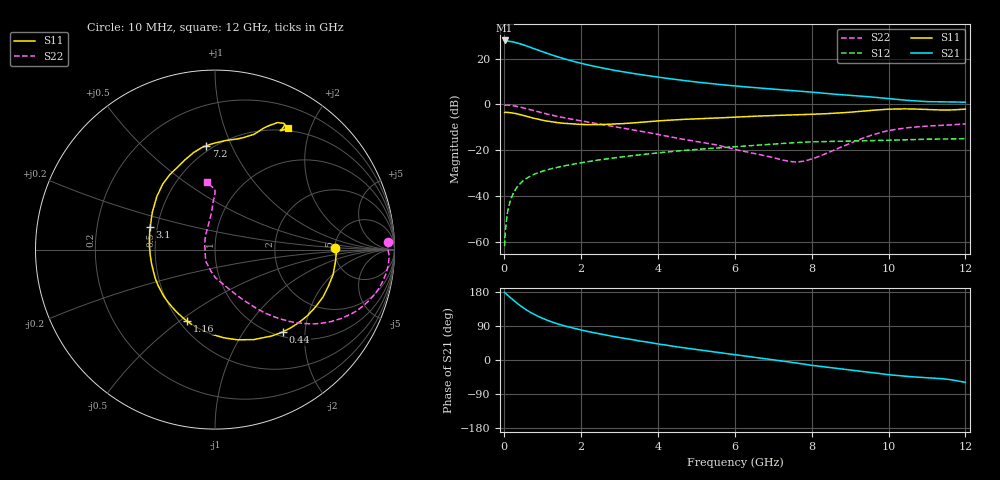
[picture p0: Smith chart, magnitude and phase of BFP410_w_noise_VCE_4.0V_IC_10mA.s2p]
! Infineon Technologies  Discrete & RF Semiconductors
! BFP410
! VCE =  4.0 V,  IC =  10 mA
! Common Emitter S-Parameters:  Nov 2015
# GHz  S  MA  R  50
!  f  S11  S21  S12  S22
! GHz  MAG  ANG  MAG  ANG  MAG  ANG  MAG  ANG
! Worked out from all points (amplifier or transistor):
!   243 points, 10 MHz to 12 GHz, reference 50 ohm
!   highest |S21| = 28.0 dB at 10 MHz (marker M1)
!   |S21| within 3 dB of that: start of sweep to 682.3 MHz
!   unconditionally stable (mu >= 1): start of sweep to 19.23 MHz; 2.446 GHz to end of sweep
!   at 240 MHz: K = 0.23, MSG = 33.0 dB, |S12| = -38.7 dB
!   at 1.84 GHz: K = 0.85, MSG = 22.3 dB, |S12| = -26.0 dB
!   at 12 GHz: K = 1.04, MAG = 6.8 dB, |S12| = -14.9 dB
!   lowest NFmin = 1.28 dB at 900 MHz
!   S11 on the Smith chart (normalised r, x): 10 MHz: 5.03, +0.21; 440 MHz: 1.08, -1.53; 1.16 GHz: 0.55, -0.53; 3.1 GHz: 0.46, +0.14; 7.2 GHz: 0.46, +0.81; 12 GHz: 0.47, +1.67
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0.01  0.6687 1.0  25.06 178.7  0.0008 49.8  0.9664 2.6
0.05  0.6747 -5.4  24.41 174.3  0.0025 72.0  0.9719 -2.1
0.15  0.6636 -17.9  23.92 165.6  0.0075 76.2  0.9612 -8.2
0.24  0.6472 -28.4  23.11 157.7  0.0116 74.2  0.9385 -13.3
0.34  0.6217 -39.9  22.11 149.5  0.0159 70.7  0.9047 -18.2
0.44  0.5936 -50.5  20.87 141.8  0.0197 67.4  0.8664 -22.7
0.6  0.5465 -66.5  18.78 130.6  0.025 62.8  0.8004 -28.7
0.8  0.4938 -84.3  16.3 119.2  0.0304 58.5  0.722 -34.6
1  0.4513 -100.3  14.18 109.8  0.0349 55.5  0.6524 -39.2
1.16  0.4268 -111.6  12.74 103.4  0.0381 53.7  0.6053 -42.2
1.3  0.4098 -120.8  11.64 98.3  0.0407 52.4  0.5689 -44.4
1.52  0.39 -133.5  10.2 91.5  0.0447 50.9  0.5202 -47.3
2.02  0.3659 -158.3  7.865 78.8  0.0535 48.1  0.4365 -52.5
2.6  0.3658 177.0  6.151 66.5  0.0635 44.8  0.3565 -57.8
3.1  0.3826 160.7  5.166 57.7  0.0721 41.8  0.302 -62.4
4.1  0.4434 135.8  3.859 41.0  0.0892 35.5  0.2135 -73.6
5  0.4873 121.3  3.093 27.5  0.104 28.9  0.1554 -89.6
6.1  0.5328 107.1  2.499 12.7  0.1207 20.8  0.1002 -111.3
7.2  0.5806 94.7  2.103 -2.2  0.1398 11.9  0.0623 -149.7
8.2  0.6193 81.4  1.797 -16.5  0.1539 1.5  0.0736 139.4
10.2  0.7948 62.6  1.297 -40.6  0.1667 -14.0  0.2864 91.1
12  0.7886 59.1  1.121 -58.8  0.1794 -29.5  0.3769 96.5
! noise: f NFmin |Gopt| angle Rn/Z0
0.45  1.31  0.05  -19  0.16
0.9  1.28  0.04  1  0.16
1.8  1.42  0.03  -159  0.16
2.4  1.4  0.09  -121  0.17
5.5  2.27  0.35  -113  0.27
10  3.42  0.67  -49  1.87
